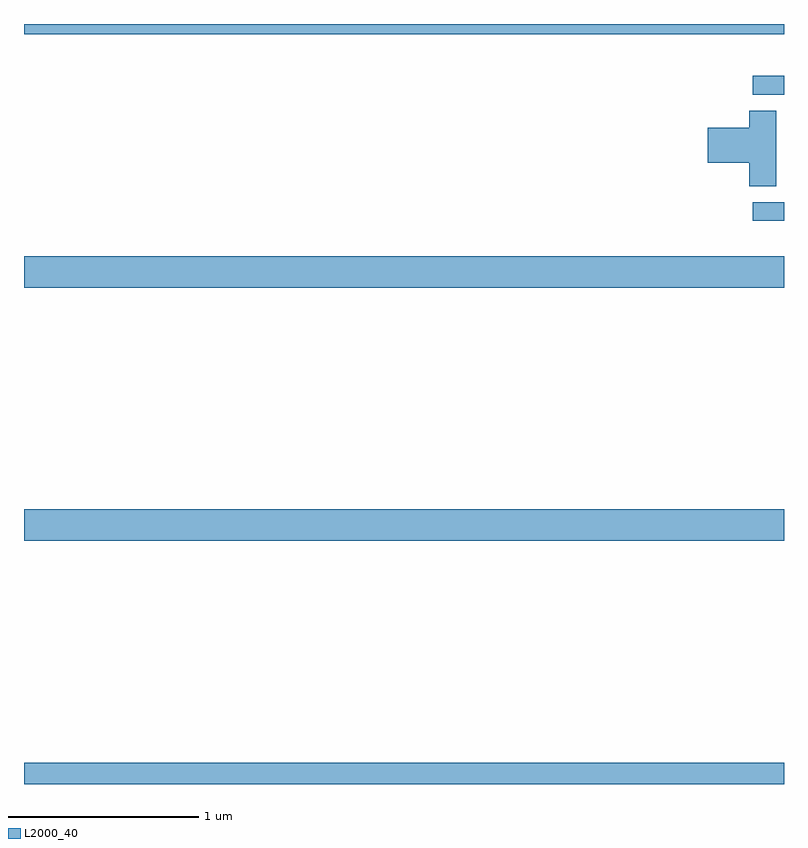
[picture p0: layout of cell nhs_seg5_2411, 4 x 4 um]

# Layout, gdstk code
import gdstk
lib = gdstk.Library(unit=1e-6, precision=1e-09)
def R(c, l, rs):  # rectangles x0, y0, x1, y1
    for r in rs: c.add(gdstk.rectangle(r[:2], r[2:], *l))
def P(c, l, *ps):  # polygons
    for p in ps: c.add(gdstk.Polygon(p, *l))
L2000_40 = (2000, 40)

nhs_seg5_2411 = lib.new_cell('nhs_seg5_2411')
R(nhs_seg5_2411, L2000_40, [(251,868.799,255,868.912), (251,870.08,255,870.244), (251,871.412,255,871.576), (254.835,871.764,255,871.86), (254.835,872.427,255,872.526), (251,872.744,255,872.799)])
P(nhs_seg5_2411, L2000_40, [(254.959,872.342),(254.816,872.342),(254.816,872.252),(254.598,872.252),(254.598,872.069),(254.816,872.069),(254.816,871.945),(254.959,871.945)])

lib.write_gds('nhs_seg5_2411.gds')
